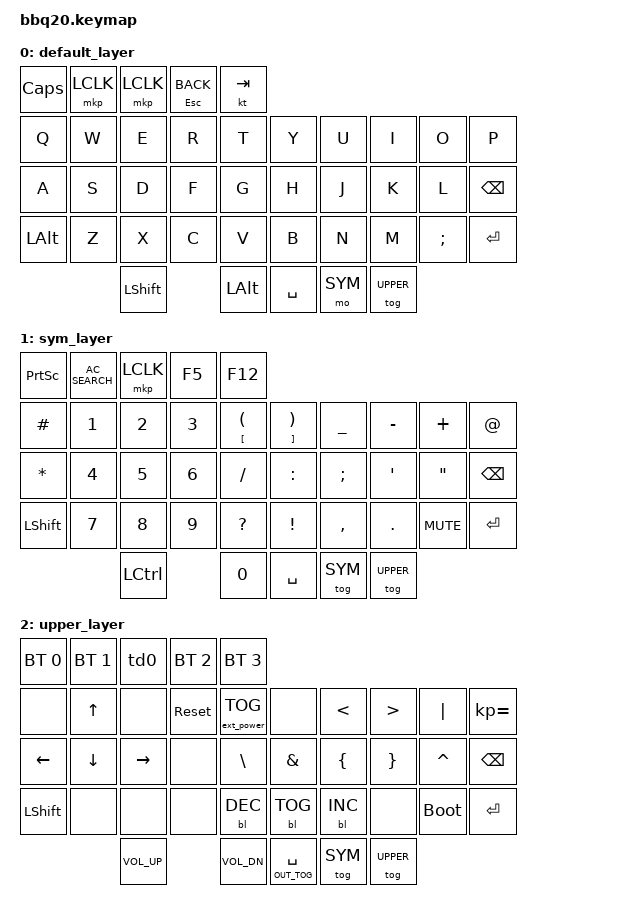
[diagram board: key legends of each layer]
/*
 *Copyright (c) 2025 XixiLee-boom
 *
 * SPDX-License-Identifier: MIT
 */

#include <dt-bindings/zmk/mouse.h>
#include <behaviors.dtsi>
#include <dt-bindings/zmk/backlight.h>
#include <dt-bindings/zmk/bt.h>
#include <dt-bindings/zmk/ext_power.h>
#include <dt-bindings/zmk/keys.h>
#include <dt-bindings/zmk/outputs.h>
#include <dt-bindings/zmk/pointing.h>

#define SYM 1
#define UPPER 2

/ {
    behaviors {
        td0: tap_dance_0 {
            compatible = "zmk,behavior-tap-dance";
            #binding-cells = <0>;
            tapping-term-ms = <400>;
            bindings = <&mkp LCLK>, <&bt BT_CLR>;
        };
    };

    behaviors {
        hm: homerow_mods {
            compatible = "zmk,behavior-hold-tap";
            #binding-cells = <2>;
            tapping-term-ms = <500>;
            bindings = <&out &kp>;
        };
    };

    behaviors {
        bhm: balanced_homerow_mods {
            compatible = "zmk,behavior-hold-tap";
            #binding-cells = <2>;
            flavor = "balanced";
            tapping-term-ms = <400>;
            bindings = <&kp>, <&kp>;
        };
    };

    keymap {
        compatible = "zmk,keymap";

        default_layer {
            bindings = <
&kp CAPSLOCK  &mkp LCLK  &mkp LCLK   &mt ESC K_BACK  &kt TAB
&kp Q         &kp W      &kp E       &kp R           &kp T     &kp Y        &kp U    &kp I       &kp O     &kp P
&kp A         &kp S      &kp D       &kp F           &kp G     &kp H        &kp J    &kp K       &kp L     &kp BSPC
&kp LEFT_ALT  &kp Z      &kp X       &kp C           &kp V     &kp B        &kp N    &kp M       &kp SEMI  &kp ENTER
                         &kp LSHIFT                  &kp LALT  &kp SPACE    &mo SYM  &tog UPPER
            >;
        };

        sym_layer {
            bindings = <
&kp PSCRN  &kp C_AC_SEARCH  &mkp LCLK  &kp F5  &kp F12
&kp HASH   &kp N1           &kp N2     &kp N3  &mt LBKT LPAR  &mt RBKT RPAR    &kp UNDER  &kp MINUS   &kp PLUS    &kp AT
&kp STAR   &kp N4           &kp N5     &kp N6  &kp SLASH      &kp COLON        &kp SEMI   &kp APOS    &kp DQT     &kp BSPC
&kp LSHFT  &kp N7           &kp N8     &kp N9  &kp QMARK      &kp EXCL         &kp COMMA  &kp DOT     &kp C_MUTE  &kp ENTER
                            &kp LCTRL          &kp N0         &kp SPACE        &tog SYM   &tog UPPER
            >;
        };

        upper_layer {
            bindings = <
&bt BT_SEL 0  &bt BT_SEL 1  &td0             &bt BT_SEL 2  &bt BT_SEL 3
&none         &kp UP        &none            &sys_reset    &ext_power EP_TOG  &none                &kp LT      &kp GT      &kp PIPE     &kp KP_EQUAL
&kp LEFT      &kp DOWN      &kp RIGHT        &none         &kp BSLH           &kp AMPS             &kp LBRC    &kp RBRC    &kp CARET    &kp BSPC
&kp LSHFT     &none         &none            &none         &bl BL_DEC         &bl BL_TOG           &bl BL_INC  &none       &bootloader  &kp ENTER
                            &kp K_VOLUME_UP                &kp K_VOL_DN       &hm OUT_TOG SPACE    &tog SYM    &tog UPPER
            >;
        };
    };
};
